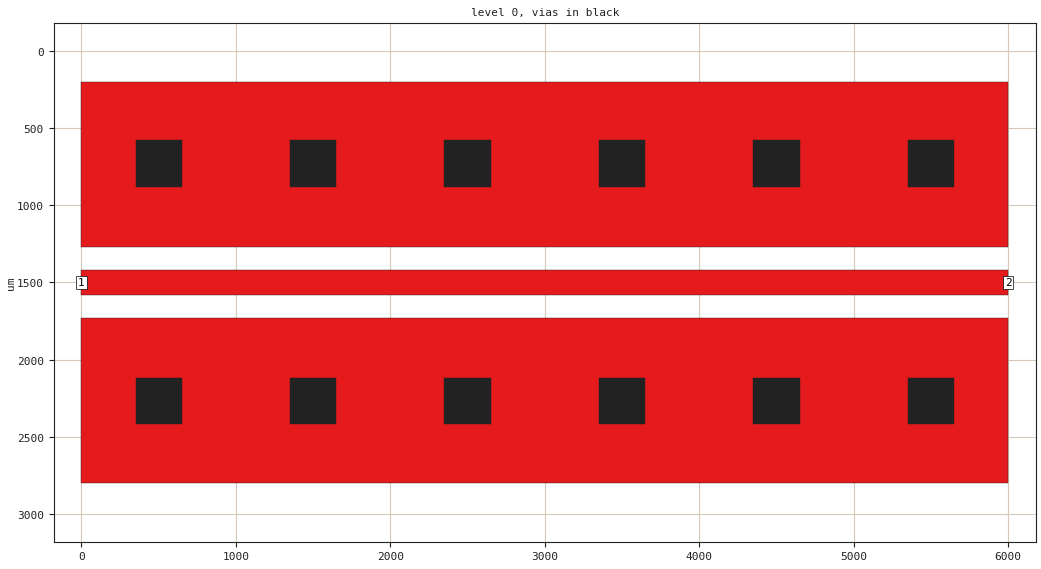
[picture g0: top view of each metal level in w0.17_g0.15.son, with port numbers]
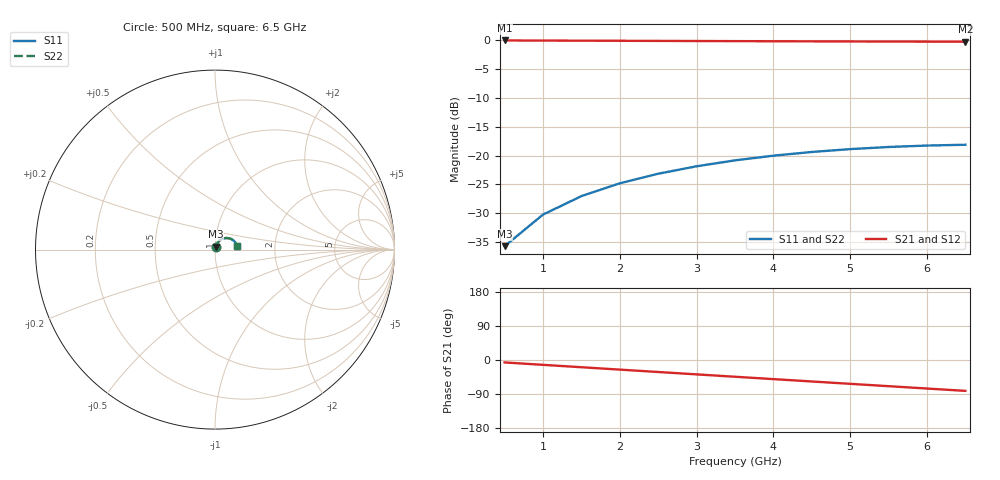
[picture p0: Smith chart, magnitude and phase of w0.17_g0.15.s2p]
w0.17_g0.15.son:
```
FTYP SONPROJ 1 ! Sonnet Project File
VER 19.54
HEADER
END HEADER
DIM
FREQ GHZ
IND NH
LNG UM
ANG DEG
CON /OH
CAP PF
RES OH
END DIM
FREQ
SWEEP 0.5 6.5 0.5
END FREQ
CONTROL
STD
OPTIONS  -d
SPEED 0
END CONTROL
GEO
TMET "Lossless" 0 SUP 0 0 0 0
BMET "Lossless" 0 SUP 0 0 0 0
MET "Cu35" 1 NOR 5.8e7 0 35
BOX 1 6000.0 3000.0 600 300 20 0
      1000.0 1 1 0 0 0 0 "Air"
      99.4 4.1000 1 0.0200 0 0 0 "PP3313"
POR1 STD
POLY 1 1
3
1 50 0 0 0 0.0 1500.0
POR1 STD
POLY 1 1
1
2 50 0 0 0 6000.0 1500.0
NUM 15
0 5 0 N 1 1 1 100 100 0 0 0 Y
0.0 1420.0
6000.0 1420.0
6000.0 1580.0
0.0 1580.0
0.0 1420.0
END
0 5 0 N 2 1 1 100 100 0 0 0 Y
0.0 200.0
6000.0 200.0
6000.0 1270.0
0.0 1270.0
0.0 200.0
END
0 5 0 N 3 1 1 100 100 0 0 0 Y
0.0 1730.0
6000.0 1730.0
6000.0 2800.0
0.0 2800.0
0.0 1730.0
END
VIA POLYGON
0 5 0 V 100 1 1 100 100 0 0 0 Y
TOLEVEL GND RING COVERS
350.0 580.0
650.0 580.0
650.0 880.0
350.0 880.0
350.0 580.0
END
VIA POLYGON
0 5 0 V 101 1 1 100 100 0 0 0 Y
TOLEVEL GND RING COVERS
350.0 2120.0
650.0 2120.0
650.0 2420.0
350.0 2420.0
350.0 2120.0
END
VIA POLYGON
0 5 0 V 102 1 1 100 100 0 0 0 Y
TOLEVEL GND RING COVERS
1350.0 580.0
1650.0 580.0
1650.0 880.0
1350.0 880.0
1350.0 580.0
END
VIA POLYGON
0 5 0 V 103 1 1 100 100 0 0 0 Y
TOLEVEL GND RING COVERS
1350.0 2120.0
1650.0 2120.0
1650.0 2420.0
1350.0 2420.0
1350.0 2120.0
END
VIA POLYGON
0 5 0 V 104 1 1 100 100 0 0 0 Y
TOLEVEL GND RING COVERS
2350.0 580.0
2650.0 580.0
2650.0 880.0
2350.0 880.0
2350.0 580.0
END
VIA POLYGON
0 5 0 V 105 1 1 100 100 0 0 0 Y
TOLEVEL GND RING COVERS
2350.0 2120.0
2650.0 2120.0
2650.0 2420.0
2350.0 2420.0
2350.0 2120.0
END
VIA POLYGON
0 5 0 V 106 1 1 100 100 0 0 0 Y
TOLEVEL GND RING COVERS
3350.0 580.0
3650.0 580.0
3650.0 880.0
3350.0 880.0
3350.0 580.0
END
VIA POLYGON
0 5 0 V 107 1 1 100 100 0 0 0 Y
TOLEVEL GND RING COVERS
3350.0 2120.0
3650.0 2120.0
3650.0 2420.0
3350.0 2420.0
3350.0 2120.0
END
VIA POLYGON
0 5 0 V 108 1 1 100 100 0 0 0 Y
TOLEVEL GND RING COVERS
4350.0 580.0
4650.0 580.0
4650.0 880.0
4350.0 880.0
4350.0 580.0
END
VIA POLYGON
0 5 0 V 109 1 1 100 100 0 0 0 Y
TOLEVEL GND RING COVERS
4350.0 2120.0
4650.0 2120.0
4650.0 2420.0
4350.0 2420.0
4350.0 2120.0
END
VIA POLYGON
0 5 0 V 110 1 1 100 100 0 0 0 Y
TOLEVEL GND RING COVERS
5350.0 580.0
5650.0 580.0
5650.0 880.0
5350.0 880.0
5350.0 580.0
END
VIA POLYGON
0 5 0 V 111 1 1 100 100 0 0 0 Y
TOLEVEL GND RING COVERS
5350.0 2120.0
5650.0 2120.0
5650.0 2420.0
5350.0 2420.0
5350.0 2120.0
END
END GEO
FILEOUT
TS D Y $BASENAME.s2p 15 S RI R 50.00000
END FILEOUT
```
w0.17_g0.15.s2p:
! Sonnet Data File
! From: em Version : 19.54.2026
! From Project: w0.17_g0.15
! Data is De-embedded
! Data File Written: 11/09/2026 23:41:07
!< HDATE 11/09/2026 23:40:19
!< MDATE 11/09/2026 23:40:19
# GHZ S RI R 50.00000
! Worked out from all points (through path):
!   13 points, 500 MHz to 6.5 GHz, reference 50 ohm
!   highest |S21| = -0.03 dB at 500 MHz (marker M1); lowest = -0.3 dB at 6.5 GHz (marker M2)
!   group delay of S21, straight-line fit = 34.7 ps
!   lowest |S11| = -35.7 dB at 500 MHz (marker M3), VSWR 1.03, Z = 50.3 + j1.61 ohm
!   |S11| at or under -10 dB: start of sweep to end of sweep
!   |S22| runs from -35.7 to -18.1 dB; largest |S21 - S12| = 1.3e-12
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0.5  0.00357 0.016  0.9902 -0.1116  0.9902 -0.1116  0.00357 0.016
1  0.00877 0.0295  0.9695 -0.2197  0.9695 -0.2197  0.00877 0.0295
1.5  0.0164 0.0413  0.9374 -0.3243  0.9374 -0.3243  0.0164 0.0413
2  0.0263 0.0511  0.8941 -0.4243  0.8941 -0.4243  0.0263 0.0511
2.5  0.0379 0.0584  0.8404 -0.5185  0.8404 -0.5185  0.0379 0.0584
3  0.0506 0.0629  0.7769 -0.6058  0.7769 -0.6058  0.0506 0.0629
3.5  0.0639 0.0646  0.7046 -0.6853  0.7046 -0.6853  0.0639 0.0646
4.5  0.0897 0.0592  0.5377 -0.8177  0.5377 -0.8177  0.0897 0.0592
5  0.101 0.0524  0.445 -0.8693  0.445 -0.8693  0.101 0.0524
6  0.1177 0.0327  0.2471 -0.9411  0.2471 -0.9411  0.1177 0.0327
6.5  0.1224 0.0207  0.144 -0.9608  0.144 -0.9608  0.1224 0.0207
